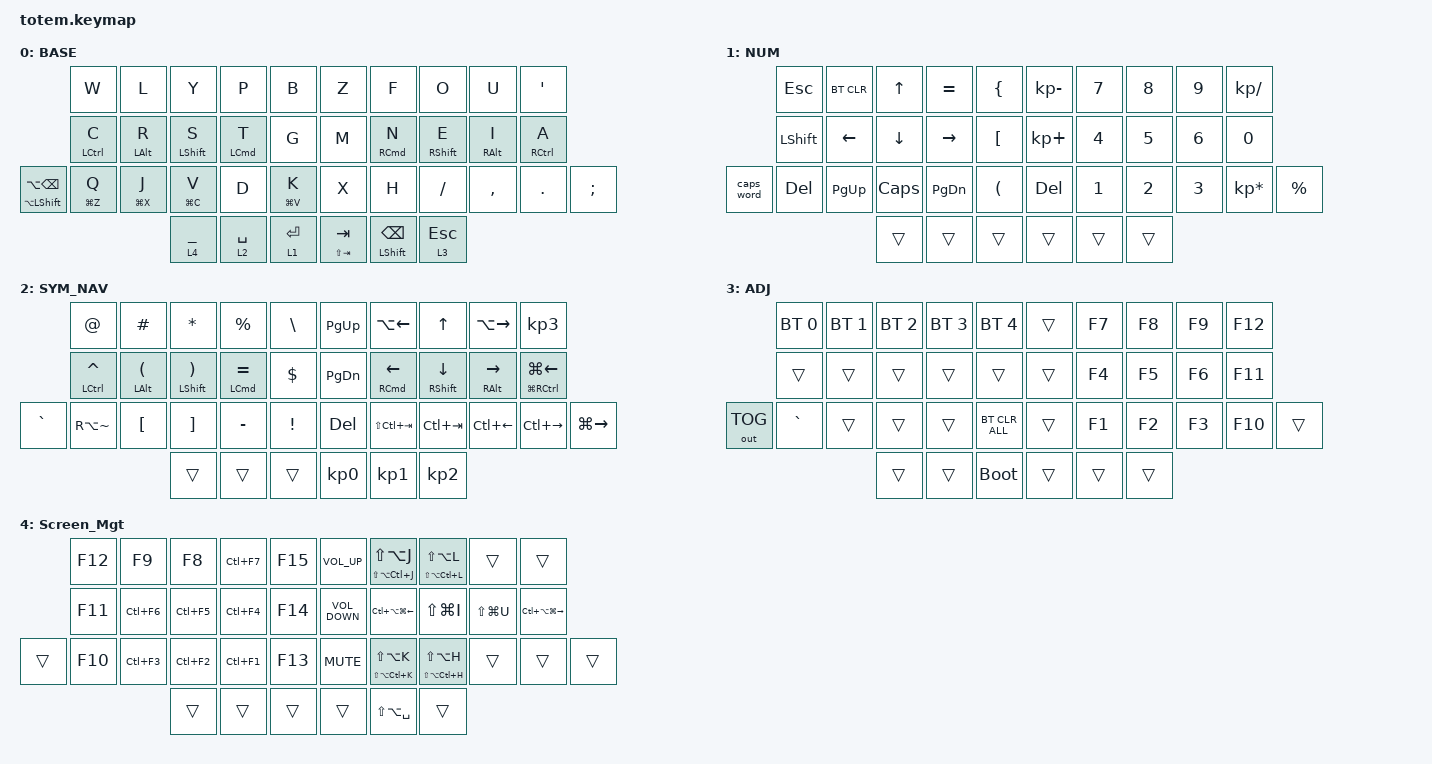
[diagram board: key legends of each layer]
//
//                                                        ▀▀▀▀▀     ▀▀▀▀▀          ▀▀█▀▀
//                                                        ▄▀▀▀▄  ▄  ▄▀▀▀▄  ▄  ▄▀▀▀▄  █  ▄▀▀▀▄
//                                                        █   █  █  █   █  █  █   █  █  █   █
//                                                         ▀▀▀   █   ▀▀▀   █   ▀▀▀   ▀   ▀▀▀
//                                                               █      ▄▄▄█▄▄▄    █   █  
//                                                               ▀      █  █  █     █▄█
//                                                             ▀▀▀▀▀    █  █  █      ▀
//                                                                      ▀  ▀  ▀
//
// ▄▄▄▄▄▄▄▄▄▄▄▄▄▄▄▄▄▄▄▄▄▄▄▄▄▄▄▄▄▄▄▄▄▄▄▄▄▄▄▄▄▄▄▄▄▄▄▄▄▄▄▄▄▄▄▄▄▄▄▄▄▄▄▄▄▄▄▄▄▄▄▄▄▄▄▄▄▄▄▄▄▄▄▄▄▄▄▄▄▄▄▄▄▄▄▄▄▄▄▄▄▄▄▄▄▄▄▄▄▄▄▄▄▄▄▄▄▄▄▄▄▄▄▄▄▄▄▄▄▄▄▄▄▄▄▄▄▄▄▄▄▄▄▄▄▄▄▄▄

#include <behaviors.dtsi>
#include <dt-bindings/zmk/bt.h>
#include <dt-bindings/zmk/keys.h>
#include <dt-bindings/zmk/outputs.h>

#define BASE 0
#define NAV  1
#define SYM  2
#define ADJ  3

&mt {
    quick-tap-ms = <100>;
    global-quick-tap;
    flavor = "tap-preferred";
    tapping-term-ms = <280>;
};

/ {
    combos {
        compatible = "zmk,combos";

        combo_esc {
            timeout-ms = <50>;
            key-positions = <12 13>;
            bindings = <&kp ESC>;
        };

        word_delete {
            bindings = <&kp LA(BACKSPACE)>;
            key-positions = <33 36>;
        };
    };

    macros {
        gif: gif {
            label = "giphy";
            compatible = "zmk,behavior-macro";
            #binding-cells = <0>;
            bindings =
                <&macro_press>,
                <&kp LSHFT>,
                <&macro_tap>,
                <&kp N2>,
                <&macro_release>,
                <&kp LSHFT>,
                <&macro_tap>,
                <&kp G &kp I &kp F>;
        };
    };

    keymap {
        compatible = "zmk,keymap";

        // ▄▄▄▄▄▄▄▄▄▄▄▄▄▄▄▄▄▄▄▄▄▄▄▄▄▄▄▄▄▄▄▄▄▄▄▄▄▄▄▄▄▄▄▄▄▄▄▄▄▄▄▄▄▄▄▄▄▄▄▄▄▄▄▄▄▄▄▄▄▄▄▄▄▄▄▄▄▄▄▄▄▄▄▄▄▄▄▄▄▄▄▄▄▄▄▄▄▄▄▄▄▄▄▄▄▄▄▄▄▄▄▄▄▄▄▄▄▄▄▄▄▄▄▄▄▄▄▄▄▄▄▄▄▄▄▄▄▄▄▄▄▄▄▄▄▄▄▄▄

        base_layer {
            // ┏━━━━━━━━━━━━━━━━━━━━━━━━━━━━━━━━━━━━━━━┓

            label = "BASE";

            // ┗━━━━━━━━━━━━━━━━━━━━━━━━━━━━━━━━━━━━━━━┛
            //             ┏━━━━━━━━━━━┳━━━━━━━━━━━┳━━━━━━━━━━━┳━━━━━━━━━━━┳━━━━━━━━━━━┓   ┏━━━━━━━━━━━┳━━━━━━━━━━━┳━━━━━━━━━━━┳━━━━━━━━━━━┳━━━━━━━━━━━┓
            //             ┃     Q     ┃     W     ┃     F     ┃     P     ┃     G     ┃   ┃     J     ┃     L     ┃     U     ┃     Y     ┃     ;     ┃
            //             ┣━━━━━━━━━━━╋━━━━━━━━━━━╋━━━━━━━━━━━╋━━━━━━━━━━━╋━━━━━━━━━━━┫   ┣━━━━━━━━━━━╋━━━━━━━━━━━╋━━━━━━━━━━━╋━━━━━━━━━━━╋━━━━━━━━━━━┫
            //             ┃     A     ┃     R     ┃     S     ┃     T     ┃     D     ┃   ┃     H     ┃     N     ┃     E     ┃     I     ┃     O     ┃
            // ┏━━━━━━━━━━━╋━━━━━━━━━━━╋━━━━━━━━━━━╋━━━━━━━━━━━╋━━━━━━━━━━━╋━━━━━━━━━━━┫   ┣━━━━━━━━━━━╋━━━━━━━━━━━╋━━━━━━━━━━━╋━━━━━━━━━━━╋━━━━━━━━━━━╋━━━━━━━━━━━┓
            // ┃           ┃     Z     ┃     X     ┃     C     ┃     V     ┃     B     ┃   ┃     K     ┃     M     ┃     ,     ┃     .     ┃     /     ┃           ┃
            // ┗━━━━━━━━━━━┻━━━━━━━━━━━┻━━━━━━━━━━━╋━━━━━━━━━━━╋━━━━━━━━━━━╋━━━━━━━━━━━┫   ┣━━━━━━━━━━━╋━━━━━━━━━━━╋━━━━━━━━━━━╋━━━━━━━━━━━┻━━━━━━━━━━━┻━━━━━━━━━━━┛
            //                                     ┃           ┃    TAB    ┃    SPC    ┃   ┃   ENTER   ┃   BSPC    ┃           ┃
            //                                     ┗━━━━━━━━━━━┻━━━━━━━━━━━┻━━━━━━━━━━━┛   ┗━━━━━━━━━━━┻━━━━━━━━━━━┻━━━━━━━━━━━┛

            bindings = <
                                  &kp W               &kp L        &kp Y             &kp P               &kp B          &kp Z            &kp F                     &kp O              &kp U       &kp SQT
                                  &mt LEFT_CONTROL C  &mt LALT R   &mt LEFT_SHIFT S  &mt LEFT_COMMAND T  &kp G          &kp M            &mt RIGHT_COMMAND N       &mt RIGHT_SHIFT E  &mt RALT I  &mt RIGHT_CONTROL A
&mt LA(LEFT_SHIFT) LA(BACKSPACE)  &mt LG(Z) Q         &mt LG(X) J  &mt LG(C) V       &kp D               &mt LG(V) K    &kp X            &kp H                     &kp SLASH          &kp COMMA   &kp PERIOD           &kp SEMI
                                                                   &lt 4 UNDERSCORE  &lt 2 SPACE         &lt 1 ENTER    &mt LS(TAB) TAB  &mt LEFT_SHIFT BACKSPACE  &lt 3 ESCAPE
            >;
        };

        // ▄▄▄▄▄▄▄▄▄▄▄▄▄▄▄▄▄▄▄▄▄▄▄▄▄▄▄▄▄▄▄▄▄▄▄▄▄▄▄▄▄▄▄▄▄▄▄▄▄▄▄▄▄▄▄▄▄▄▄▄▄▄▄▄▄▄▄▄▄▄▄▄▄▄▄▄▄▄▄▄▄▄▄▄▄▄▄▄▄▄▄▄▄▄▄▄▄▄▄▄▄▄▄▄▄▄▄▄▄▄▄▄▄▄▄▄▄▄▄▄▄▄▄▄▄▄▄▄▄▄▄▄▄▄▄▄▄▄▄▄▄▄▄▄▄▄▄▄▄

        num_layer {
            // ┏━━━━━━━━━━━━━━━━━━━━━━━━━━━━━━━━━━━━━━━┓

            label = "NUM";

            // ┗━━━━━━━━━━━━━━━━━━━━━━━━━━━━━━━━━━━━━━━┛
            //             ┏━━━━━━━━━━━┳━━━━━━━━━━━┳━━━━━━━━━━━┳━━━━━━━━━━━┳━━━━━━━━━━━┓   ┏━━━━━━━━━━━┳━━━━━━━━━━━┳━━━━━━━━━━━┳━━━━━━━━━━━┳━━━━━━━━━━━┓
            //             ┃           ┃           ┃     UP    ┃           ┃     {     ┃   ┃     }     ┃     7     ┃     8     ┃     9     ┃     +     ┃
            //             ┣━━━━━━━━━━━╋━━━━━━━━━━━╋━━━━━━━━━━━╋━━━━━━━━━━━╋━━━━━━━━━━━┫   ┣━━━━━━━━━━━╋━━━━━━━━━━━╋━━━━━━━━━━━╋━━━━━━━━━━━╋━━━━━━━━━━━┫
            //             ┃   SHIFT   ┃   LEFT    ┃    DOWN   ┃   RIGHT   ┃     [     ┃   ┃     ]     ┃     4     ┃     5     ┃     6     ┃     -     ┃
            // ┏━━━━━━━━━━━╋━━━━━━━━━━━╋━━━━━━━━━━━╋━━━━━━━━━━━╋━━━━━━━━━━━╋━━━━━━━━━━━┫   ┣━━━━━━━━━━━╋━━━━━━━━━━━╋━━━━━━━━━━━╋━━━━━━━━━━━╋━━━━━━━━━━━╋━━━━━━━━━━━┓
            // ┃           ┃           ┃   P UP    ┃  C LOCK   ┃  P DOWN   ┃     (     ┃   ┃     )     ┃     1     ┃     2     ┃     3     ┃     *     ┃           ┃
            // ┗━━━━━━━━━━━┻━━━━━━━━━━━┻━━━━━━━━━━━╋━━━━━━━━━━━╋━━━━━━━━━━━╋━━━━━━━━━━━┫   ┣━━━━━━━━━━━╋━━━━━━━━━━━╋━━━━━━━━━━━╋━━━━━━━━━━━┻━━━━━━━━━━━┻━━━━━━━━━━━┛
            //                                     ┃           ┃    TAB    ┃    SPC    ┃   ┃    DEL    ┃     0     ┃           ┃
            //                                     ┗━━━━━━━━━━━┻━━━━━━━━━━━┻━━━━━━━━━━━┛   ┗━━━━━━━━━━━┻━━━━━━━━━━━┻━━━━━━━━━━━┛

            bindings = <
            &kp ESC    &bt BT_CLR  &kp UP    &kp EQUAL  &kp LBRC    &kp KP_SUBTRACT  &kp N7        &kp N8        &kp N9        &kp KP_DIVIDE
            &kp LSHFT  &kp LEFT    &kp DOWN  &kp RIGHT  &kp LBKT    &kp KP_PLUS      &kp NUMBER_4  &kp N5        &kp NUMBER_6  &kp N0
&caps_word  &kp DEL    &kp PG_UP   &kp CAPS  &kp PG_DN  &kp LPAR    &kp DELETE       &kp NUMBER_1  &kp NUMBER_2  &kp NUMBER_3  &kp KP_MULTIPLY  &kp PERCENT
                                   &trans    &trans     &trans      &trans           &trans        &trans
            >;
        };

        // ▄▄▄▄▄▄▄▄▄▄▄▄▄▄▄▄▄▄▄▄▄▄▄▄▄▄▄▄▄▄▄▄▄▄▄▄▄▄▄▄▄▄▄▄▄▄▄▄▄▄▄▄▄▄▄▄▄▄▄▄▄▄▄▄▄▄▄▄▄▄▄▄▄▄▄▄▄▄▄▄▄▄▄▄▄▄▄▄▄▄▄▄▄▄▄▄▄▄▄▄▄▄▄▄▄▄▄▄▄▄▄▄▄▄▄▄▄▄▄▄▄▄▄▄▄▄▄▄▄▄▄▄▄▄▄▄▄▄▄▄▄▄▄▄▄▄▄▄▄

        sim_nav_layer {
            // ┏━━━━━━━━━━━━━━━━━━━━━━━━━━━━━━━━━━━━━━━┓

            label = "SYM_NAV";

            // ┗━━━━━━━━━━━━━━━━━━━━━━━━━━━━━━━━━━━━━━━┛
            //             ┏━━━━━━━━━━━┳━━━━━━━━━━━┳━━━━━━━━━━━┳━━━━━━━━━━━┳━━━━━━━━━━━┓   ┏━━━━━━━━━━━┳━━━━━━━━━━━┳━━━━━━━━━━━┳━━━━━━━━━━━┳━━━━━━━━━━━┓
            //             ┃     !     ┃     @     ┃     #     ┃     $     ┃     %     ┃   ┃     ˆ     ┃     &     ┃     Ü     ┃     '     ┃     "     ┃
            //             ┣━━━━━━━━━━━╋━━━━━━━━━━━╋━━━━━━━━━━━╋━━━━━━━━━━━╋━━━━━━━━━━━┫   ┣━━━━━━━━━━━╋━━━━━━━━━━━╋━━━━━━━━━━━╋━━━━━━━━━━━╋━━━━━━━━━━━┫
            //             ┃     Ä     ┃           ┃    SZ     ┃           ┃           ┃   ┃   MUTE    ┃   YEN     ┃   EURO    ┃  POUND    ┃     Ö     ┃
            // ┏━━━━━━━━━━━╋━━━━━━━━━━━╋━━━━━━━━━━━╋━━━━━━━━━━━╋━━━━━━━━━━━╋━━━━━━━━━━━┫   ┣━━━━━━━━━━━╋━━━━━━━━━━━╋━━━━━━━━━━━╋━━━━━━━━━━━╋━━━━━━━━━━━╋━━━━━━━━━━━┓
            // ┃           ┃  EMAIL1   ┃  EMAIL2   ┃           ┃           ┃           ┃   ┃   VOL-    ┃   VOL+    ┃   LAST    ┃   NEXT    ┃     \     ┃           ┃
            // ┗━━━━━━━━━━━┻━━━━━━━━━━━┻━━━━━━━━━━━╋━━━━━━━━━━━╋━━━━━━━━━━━╋━━━━━━━━━━━┫   ┣━━━━━━━━━━━╋━━━━━━━━━━━╋━━━━━━━━━━━╋━━━━━━━━━━━┻━━━━━━━━━━━┻━━━━━━━━━━━┛
            //                                     ┃           ┃    GIF    ┃    ADJ    ┃   ┃           ┃           ┃           ┃
            //                                     ┗━━━━━━━━━━━┻━━━━━━━━━━━┻━━━━━━━━━━━┛   ┗━━━━━━━━━━━┻━━━━━━━━━━━┻━━━━━━━━━━━┛

            bindings = <
           &kp AT_SIGN             &kp HASH                       &kp STAR                          &kp PERCENT             &kp BACKSLASH    &kp PAGE_UP      &kp LA(LEFT_ARROW)            &kp UP_ARROW                &kp LA(RIGHT_ARROW)        &kp KP_NUMBER_3
           &mt LEFT_CONTROL CARET  &mt LEFT_ALT LEFT_PARENTHESIS  &mt LEFT_SHIFT RIGHT_PARENTHESIS  &mt LEFT_COMMAND EQUAL  &kp DOLLAR       &kp PAGE_DOWN    &mt RIGHT_COMMAND LEFT_ARROW  &mt RIGHT_SHIFT DOWN_ARROW  &mt RIGHT_ALT RIGHT_ARROW  &mt LG(RIGHT_CONTROL) LG(LEFT_ARROW)
&kp GRAVE  &kp RA(TILDE)           &kp LEFT_BRACKET               &kp RIGHT_BRACKET                 &kp MINUS               &kp EXCL         &kp DELETE       &kp LS(LC(TAB))               &kp LC(TAB)                 &kp LC(LEFT_ARROW)         &kp LC(RIGHT_ARROW)                   &kp LG(RIGHT_ARROW)
                                                                  &trans                            &trans                  &trans           &kp KP_NUMBER_0  &kp KP_NUMBER_1               &kp KP_NUMBER_2
            >;
        };

        // ▄▄▄▄▄▄▄▄▄▄▄▄▄▄▄▄▄▄▄▄▄▄▄▄▄▄▄▄▄▄▄▄▄▄▄▄▄▄▄▄▄▄▄▄▄▄▄▄▄▄▄▄▄▄▄▄▄▄▄▄▄▄▄▄▄▄▄▄▄▄▄▄▄▄▄▄▄▄▄▄▄▄▄▄▄▄▄▄▄▄▄▄▄▄▄▄▄▄▄▄▄▄▄▄▄▄▄▄▄▄▄▄▄▄▄▄▄▄▄▄▄▄▄▄▄▄▄▄▄▄▄▄▄▄▄▄▄▄▄▄▄▄▄▄▄▄▄▄▄

        adjust_f_layer {
            // ┏━━━━━━━━━━━━━━━━━━━━━━━━━━━━━━━━━━━━━━━┓

            label = "ADJ";

            // ┗━━━━━━━━━━━━━━━━━━━━━━━━━━━━━━━━━━━━━━━┛
            //             ┏━━━━━━━━━━━┳━━━━━━━━━━━┳━━━━━━━━━━━┳━━━━━━━━━━━┳━━━━━━━━━━━┓   ┏━━━━━━━━━━━┳━━━━━━━━━━━┳━━━━━━━━━━━┳━━━━━━━━━━━┳━━━━━━━━━━━┓
            //             ┃   RESET   ┃ BT CLEAR  ┃  OUT TOG  ┃           ┃           ┃   ┃           ┃    F7     ┃    F8     ┃    F9     ┃    F12    ┃
            //             ┣━━━━━━━━━━━╋━━━━━━━━━━━╋━━━━━━━━━━━╋━━━━━━━━━━━╋━━━━━━━━━━━┫   ┣━━━━━━━━━━━╋━━━━━━━━━━━╋━━━━━━━━━━━╋━━━━━━━━━━━╋━━━━━━━━━━━┫
            //             ┃ BOOTLOAD  ┃ BT NEXT   ┃           ┃           ┃           ┃   ┃           ┃    F4     ┃    F5     ┃    F6     ┃    F11    ┃
            // ┏━━━━━━━━━━━╋━━━━━━━━━━━╋━━━━━━━━━━━╋━━━━━━━━━━━╋━━━━━━━━━━━╋━━━━━━━━━━━┫   ┣━━━━━━━━━━━╋━━━━━━━━━━━╋━━━━━━━━━━━╋━━━━━━━━━━━╋━━━━━━━━━━━╋━━━━━━━━━━━┓
            // ┃           ┃           ┃ BT PREV   ┃           ┃           ┃           ┃   ┃           ┃    F1     ┃    F2     ┃    F3     ┃    F10    ┃           ┃
            // ┗━━━━━━━━━━━┻━━━━━━━━━━━┻━━━━━━━━━━━╋━━━━━━━━━━━╋━━━━━━━━━━━╋━━━━━━━━━━━┫   ┣━━━━━━━━━━━╋━━━━━━━━━━━╋━━━━━━━━━━━╋━━━━━━━━━━━┻━━━━━━━━━━━┻━━━━━━━━━━━┛
            //                                     ┃           ┃           ┃           ┃   ┃           ┃           ┃           ┃
            //                                     ┗━━━━━━━━━━━┻━━━━━━━━━━━┻━━━━━━━━━━━┛   ┗━━━━━━━━━━━┻━━━━━━━━━━━┻━━━━━━━━━━━┛

            bindings = <
              &bt BT_SEL 0  &bt BT_SEL 1  &bt BT_SEL 2  &bt BT_SEL 3  &bt BT_SEL 4      &trans  &kp F7  &kp F8  &kp F9  &kp F12
              &trans        &trans        &trans        &trans        &trans            &trans  &kp F4  &kp F5  &kp F6  &kp F11
&out OUT_TOG  &kp GRAVE     &trans        &trans        &trans        &bt BT_CLR_ALL    &trans  &kp F1  &kp F2  &kp F3  &kp F10  &trans
                                          &trans        &trans        &bootloader       &trans  &trans  &trans
            >;
        };

        Screen_Mgt {
            bindings = <
        &kp F12  &kp F9      &kp F8      &kp LC(F7)  &kp F15    &kp C_VOLUME_UP    &mt LS(LA(LC(J))) LS(LA(J))  &mt LS(LA(LC(L))) LS(LA(L))  &trans         &trans
        &kp F11  &kp LC(F6)  &kp LC(F5)  &kp LC(F4)  &kp F14    &kp C_VOLUME_DOWN  &kp LC(LA(LG(LEFT_ARROW)))   &kp LS(LG(I))                &kp LS(LG(U))  &kp LC(LA(LG(RIGHT_ARROW)))
&trans  &kp F10  &kp LC(F3)  &kp LC(F2)  &kp LC(F1)  &kp F13    &kp K_MUTE         &mt LS(LA(LC(K))) LS(LA(K))  &mt LS(LA(LC(H))) LS(LA(H))  &trans         &trans                       &trans
                             &trans      &trans      &trans     &trans             &kp LS(LA(SPACE))            &trans
            >;
        };
    };
};
